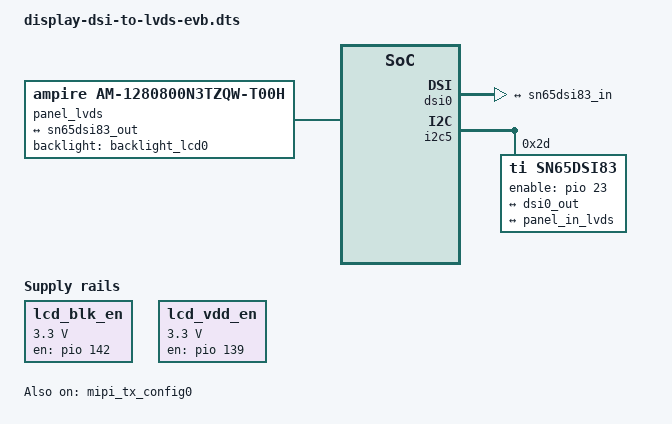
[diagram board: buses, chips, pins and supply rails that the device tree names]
/dts-v1/;
/plugin/;
#include <dt-bindings/gpio/gpio.h>
#include <dt-bindings/interrupt-controller/irq.h>
#include <dt-bindings/pinctrl/mt8189-pinfunc.h>

/ {
	fragment@0 {
		target = <&mipi_tx_config0>;
		__overlay__ {
			status = "okay";
		};
	};

	fragment@1 {
		target = <&dsi0>;
		__overlay__ {
			status = "okay";

			ports {
				port {
					dsi0_out: endpoint {
						remote-endpoint = <&sn65dsi83_in>;
						data-lanes = <1 2 3 4>;
					};
				};
			};
		};
	};

	fragment@2 {
		target = <&i2c5>;
		__overlay__ {
			sn65dsi83: bridge@2d {
				compatible = "ti,sn65dsi83";
				reg = <0x2d>;
				enable-gpios = <&pio 23 GPIO_ACTIVE_HIGH>;
				pinctrl-names = "default";
				pinctrl-0 = <&sn65dsi83_pins_default>;

				ports {
					#address-cells = <1>;
					#size-cells = <0>;

					port@0 {
						reg = <0>;
						sn65dsi83_in: endpoint {
							remote-endpoint = <&dsi0_out>;
							data-lanes = <1 2 3 4>;
						};
					};

					port@2 {
						reg = <2>;
						sn65dsi83_out: endpoint {
							remote-endpoint = <&panel_in_lvds>;
						};
					};
				};
			};
		};
	};

	fragment@3 {
		target-path = "/";
		__overlay__ {
			lcd_blk_en: lcd_blk_en {
				compatible = "regulator-fixed";
				regulator-name = "lcd_blk_en";
				regulator-min-microvolt = <3300000>;
				regulator-max-microvolt = <3300000>;
				gpio = <&pio 142 GPIO_ACTIVE_HIGH>;
				pinctrl-names = "default";
				pinctrl-0 = <&lcd_blk_en_pins_default>;
				enable-active-high;
				regulator-always-on;
			};

			lcd_vdd_en: lcd_vdd_en {
				compatible = "regulator-fixed";
				regulator-name = "lcd_vdd_en";
				regulator-min-microvolt = <3300000>;
				regulator-max-microvolt = <3300000>;
				gpio = <&pio 139 GPIO_ACTIVE_HIGH>;
				pinctrl-names = "default";
				pinctrl-0 = <&lcd_vdd_en_pins_default>;
				enable-active-high;
				regulator-always-on;
			};

            panel_lvds: panel-lvds {
                compatible = "ampire,am-1280800n3tzqw-t00h";
                backlight = <&backlight_lcd0>;
                port {
                    panel_in_lvds: endpoint {
                        remote-endpoint = <&sn65dsi83_out>;
                    };
                };
            };
		};
	};

	fragment@4 {
		target = <&pio>;
		__overlay__ {
			lcd_blk_en_pins_default: lcd-blk-en-pins-default {
				panel-en {
					pinmux = <PINMUX_GPIO142__FUNC_GPIO142>;
					output-low;
				};
			};

			lcd_vdd_en_pins_default: lcd-vdd-en-pins-default {
				panel-en {
					pinmux = <PINMUX_GPIO139__FUNC_GPIO139>;
					output-low;
				};
			};

			sn65dsi83_pins_default: sn65dsi83-pins-default {
				pins-enable {
					pinmux = <PINMUX_GPIO23__FUNC_GPIO23>;
					output-low;
				};
				pins-int {
					pinmux = <PINMUX_GPIO24__FUNC_GPIO24>;
					input-enable;
					bias-pull-up;
				};
			};
		};
	};
};
